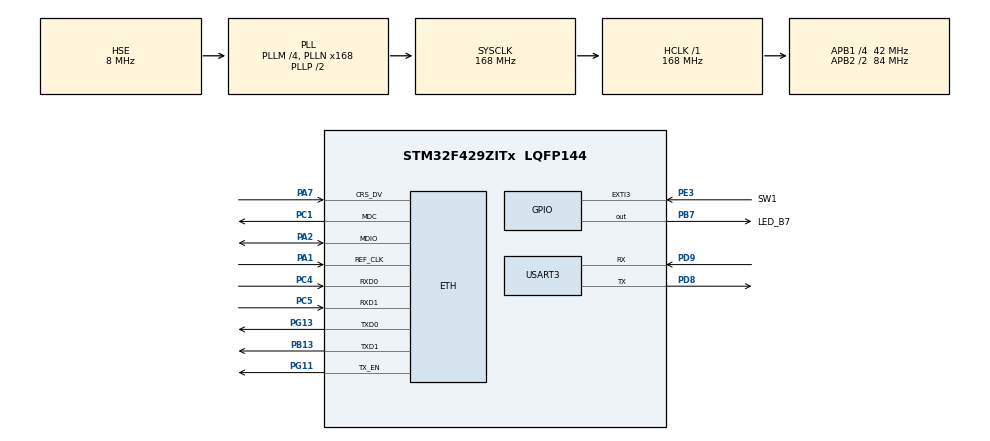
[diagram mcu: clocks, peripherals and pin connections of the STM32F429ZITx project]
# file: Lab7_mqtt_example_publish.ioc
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ETH.MACAddr=00\:80\:E1\:CD\:FF\:AD
ETH.MediaInterface=HAL_ETH_RMII_MODE
FREERTOS.Tasks01=defaultTask,24,128,StartDefaultTask,Default,NULL,Dynamic,NULL,NULL
FREERTOS.configTOTAL_HEAP_SIZE=25360
LWIP.BSP.number=1
LWIP.MEMP_NUM_SYS_TIMEOUT=13
LWIP.MEM_SIZE=10*1024
LWIP.Version=v2.1.2_Cube
LWIP0.BSP.STBoard=false
LWIP0.BSP.api=BSP_COMPONENT_DRIVER
LWIP0.BSP.component=LAN8742
LWIP0.BSP.instance=LAN8742
LWIP0.BSP.name=Driver_PHY
LWIP0.BSP.semaphore=S_LAN8742
LWIP0.BSP.solution=LAN8742
Mcu.Family=STM32F4
Mcu.Name=STM32F429ZITx
Mcu.Package=LQFP144
NVIC.ETH_IRQn=true\:5\:0\:false\:false\:true\:true\:false\:true\:true
NVIC.EXTI3_IRQn=true\:5\:0\:true\:false\:true\:true\:true\:true\:true
NVIC.PriorityGroup=NVIC_PRIORITYGROUP_4
NVIC.TIM1_UP_TIM10_IRQn=true\:15\:0\:false\:false\:true\:false\:false\:true\:true
NVIC.TimeBase=TIM1_UP_TIM10_IRQn
NVIC.TimeBaseIP=TIM1
PA1.Mode=RMII
PA1.Signal=ETH_REF_CLK
PA13.Mode=Serial_Wire
PA13.Signal=SYS_JTMS-SWDIO
PA14.Mode=Serial_Wire
PA14.Signal=SYS_JTCK-SWCLK
PA2.Mode=RMII
PA2.Signal=ETH_MDIO
PA7.Mode=RMII
PA7.Signal=ETH_CRS_DV
PB13.Mode=RMII
PB13.Signal=ETH_TXD1
PB7.GPIO_Label=LED_B7
PB7.Signal=GPIO_Output
PC1.Mode=RMII
PC1.Signal=ETH_MDC
PC14/OSC32_IN.Mode=LSE-External-Oscillator
PC14/OSC32_IN.Signal=RCC_OSC32_IN
PC15/OSC32_OUT.Mode=LSE-External-Oscillator
PC15/OSC32_OUT.Signal=RCC_OSC32_OUT
PC4.Mode=RMII
PC4.Signal=ETH_RXD0
PC5.Mode=RMII
PC5.Signal=ETH_RXD1
PD8.Mode=Asynchronous
PD8.Signal=USART3_TX
PD9.Mode=Asynchronous
PD9.Signal=USART3_RX
PE3.GPIO_Label=SW1
PE3.Signal=GPXTI3
PG11.Mode=RMII
PG11.Signal=ETH_TX_EN
PG13.Mode=RMII
PG13.Signal=ETH_TXD0
PH0/OSC_IN.Mode=HSE-External-Oscillator
PH0/OSC_IN.Signal=RCC_OSC_IN
PH1/OSC_OUT.Mode=HSE-External-Oscillator
PH1/OSC_OUT.Signal=RCC_OSC_OUT
ProjectManager.HeapSize=0x200
ProjectManager.StackSize=0x400
ProjectManager.TargetToolchain=MDK-ARM V5.32
RCC.48MHZClocksFreq_Value=48000000
RCC.AHBFreq_Value=168000000
RCC.APB1CLKDivider=RCC_HCLK_DIV4
RCC.APB1Freq_Value=42000000
RCC.APB1TimFreq_Value=84000000
RCC.APB2CLKDivider=RCC_HCLK_DIV2
RCC.APB2Freq_Value=84000000
RCC.APB2TimCLKDivider=2
RCC.APB2TimFreq_Value=168000000
RCC.CortexFreq_Value=168000000
RCC.HCLKFreq_Value=168000000
RCC.HSE_VALUE=8000000
RCC.HSI_VALUE=16000000
RCC.PLLM=4
RCC.PLLMUL=RCC_PLL_MUL9
RCC.PLLN=168
RCC.PLLQ=7
RCC.PLLSourceVirtual=RCC_PLLSOURCE_HSE
RCC.PRESCALERUSB=RCC_USBCLKSOURCE_PLL_DIV1_5
RCC.SYSCLKFreq_VALUE=168000000
RCC.SYSCLKSource=RCC_SYSCLKSOURCE_PLLCLK
RCC.SYSCLKSourceVirtual=RCC_SYSCLKSOURCE_PLLCLK
RCC.USBFreq_Value=48000000
RCC.VCOOutputFreq_Value=336000000
USART3.VirtualMode=VM_ASYNC
VP_FREERTOS_VS_CMSIS_V2.Mode=CMSIS_V2
VP_LWIP_VS_Enabled.Mode=Enabled
VP_SYS_VS_tim1.Mode=TIM1
board=NUCLEO-F429ZI

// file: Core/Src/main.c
/* USER CODE BEGIN Header */
/**
  ******************************************************************************
  * @file           : main.c
  * @brief          : Main program body
  ******************************************************************************
  * @attention
  *
  * Copyright (c) 2025 STMicroelectronics.
  * All rights reserved.
  *
  * This software is licensed under terms that can be found in the LICENSE file
  * in the root directory of this software component.
  * If no LICENSE file comes with this software, it is provided AS-IS.
  *
  ******************************************************************************
  */
/* USER CODE END Header */
#include "main.h"
#include "cmsis_os.h"
#include "lwip.h"
#include "usart.h"
#include "gpio.h"

/* USER CODE BEGIN Includes */
#include "lwip/apps/mqtt.h"
#include "FreeRTOS.h"
#include "queue.h"
#include "semphr.h"
#include "string.h"
#include "stdbool.h"
#include "task.h"
/* USER CODE END Includes */

/* USER CODE BEGIN PV */
mqtt_client_t *mqttClient = NULL;

QueueHandle_t queueSwitch;

SemaphoreHandle_t xSemMqttReconnect;
TaskHandle_t handleMQTT;
TaskHandle_t handlePublish;
TaskHandle_t handleControl;
/* USER CODE END PV */

void SystemClock_Config(void);
void MX_FREERTOS_Init(void);
/* USER CODE BEGIN PFP */
void mqtt_connection_cb(mqtt_client_t *mqttClient, void *arg, mqtt_connection_status_t status);
void mqtt_pub_request_cb(void *arg, err_t result);
void taskMQTT(void *pvParameters);
void taskPublish(void *pvParameters);
void taskControll(void *pvParameters);

void HAL_GPIO_EXTI_Callback(uint16_t GPIO_Pin);
/* USER CODE END PFP */

/* USER CODE BEGIN 0 */

/*
 * MQTT Callback Functions
 */

// Connection status callback
void mqtt_connection_cb(mqtt_client_t *mqttClient, void *arg, mqtt_connection_status_t status){
  if (status == MQTT_CONNECT_ACCEPTED){
    printf("MQTT connected successfully!\r\n");
    HAL_GPIO_WritePin(LED_B7_GPIO_Port, LED_B7_Pin, GPIO_PIN_SET);
  }else{
    HAL_GPIO_WritePin(LED_B7_GPIO_Port, LED_B7_Pin, GPIO_PIN_RESET);
    printf("MQTT connection failed! Error code: %d\r\n", status);

    xSemaphoreGive(xSemMqttReconnect);
  }
}

// Publish request callback
void mqtt_pub_request_cb(void *arg, err_t result){
  if (result != ERR_OK){
    printf("Publish result: %d\r\n", result);
  }
}

/*
 * Task
 */

// MQTT initial task
void taskMQTT(void *pvParameters){
  MX_LWIP_Init();

  mqttClient = mqtt_client_new();

  struct mqtt_connect_client_info_t mqtt_connect_info = {
    .client_id = "M11317045_A",
    .client_user = "CSIE3041",
    .client_pass = "000000",
    .keep_alive = 20,
    .will_topic = "Lab7/Last_will",
    .will_msg = "Goodbye client_A!",
    .will_qos = 0,
    .will_retain = 0
  };

  ip_addr_t mqttBrokerAddr;
  IP_ADDR4(&mqttBrokerAddr, 140, 125, 33, 185);

  err_t connectResult;
  while(1){
    if (!mqtt_client_is_connected(mqttClient)){
      connectResult = mqtt_client_connect(mqttClient, &mqttBrokerAddr, MQTT_PORT,
                                               mqtt_connection_cb, NULL, &mqtt_connect_info);

      if (connectResult != ERR_OK){
        printf("MQTT connect returned error: %d\r\n", connectResult);
        if (connectResult == ERR_ISCONN) {
          mqtt_disconnect(mqttClient);
        }
      }
    } else{
      xSemaphoreTake(xSemMqttReconnect, portMAX_DELAY);
    }
    vTaskDelay(1000);
  }
}

// Control switch task
void taskControll(void *pvParameters){
  uint8_t switchMode = 9;
  char message[10];
  bool LED_Status = true;

  while(1){
    xQueueReceive(queueSwitch, &switchMode, portMAX_DELAY);

    switch (switchMode){
      case 0:
        if (LED_Status == true){
          strcpy(message, "On");
          LED_Status = false;
        } else{
          strcpy(message, "Off");
          LED_Status = true;
        }

        mqtt_publish(mqttClient, "Lab7/LED", message, strlen(message), 0, 0, NULL, NULL);
        break;
    }
  }
}

// Publish count task
void taskPublish(void *pvParameters){
  int count = 0;
  char message[10];

  while(1){
    if (mqtt_client_is_connected(mqttClient)){
      count++;
      snprintf(message, sizeof(message), "%d", count);

      mqtt_publish(mqttClient, "Lab7/Count", message, strlen(message), 0, 0, NULL, NULL);
    }

    vTaskDelay(1000);
  }
}

void HAL_GPIO_EXTI_Callback(uint16_t GPIO_Pin){
  static uint8_t mode = 0;

  switch (GPIO_Pin){
    case GPIO_PIN_3:
      if (HAL_GPIO_ReadPin(SW1_GPIO_Port, SW1_Pin) == 1){
        mode = 0;
        xQueueSendFromISR(queueSwitch, &mode, NULL);
      }
      break;
  }
}

/* USER CODE END 0 */

int main(void)
{

  /* MCU Configuration--------------------------------------------------------*/

  /* Reset of all peripherals, Initializes the Flash interface and the Systick. */
  HAL_Init();

  /* Configure the system clock */
  SystemClock_Config();

  /* Initialize all configured peripherals */
  MX_GPIO_Init();
  MX_USART3_UART_Init();
  /* USER CODE BEGIN 2 */
  xSemMqttReconnect = xSemaphoreCreateBinary();
  queueSwitch = xQueueCreate(3, sizeof(uint8_t));

  xTaskCreate(taskMQTT, "MQTT init", 1024, NULL, 3, &handleMQTT);
  xTaskCreate(taskControll, "Control switch", 256, NULL, 2, &handleControl);
  xTaskCreate(taskPublish, "Publish", 256, NULL, 1, &handlePublish);

  printf("A_StartScheduler \r\n");
	vTaskStartScheduler();
  /* USER CODE END 2 */

  /* Init scheduler */
  osKernelInitialize();  /* Call init function for freertos objects (in freertos.c) */
  MX_FREERTOS_Init();

  /* Start scheduler */
  osKernelStart();

  /* We should never get here as control is now taken by the scheduler */
  /* Infinite loop */
  while (1)
  {

  }
}

void SystemClock_Config(void)
{
  RCC_OscInitTypeDef RCC_OscInitStruct = {0};
  RCC_ClkInitTypeDef RCC_ClkInitStruct = {0};

  /** Configure the main internal regulator output voltage
  */
  __HAL_RCC_PWR_CLK_ENABLE();
  __HAL_PWR_VOLTAGESCALING_CONFIG(PWR_REGULATOR_VOLTAGE_SCALE1);

  /** Initializes the RCC Oscillators according to the specified parameters
  * in the RCC_OscInitTypeDef structure.
  */
  RCC_OscInitStruct.OscillatorType = RCC_OSCILLATORTYPE_HSE;
  RCC_OscInitStruct.HSEState = RCC_HSE_ON;
  RCC_OscInitStruct.PLL.PLLState = RCC_PLL_ON;
  RCC_OscInitStruct.PLL.PLLSource = RCC_PLLSOURCE_HSE;
  RCC_OscInitStruct.PLL.PLLM = 4;
  RCC_OscInitStruct.PLL.PLLN = 168;
  RCC_OscInitStruct.PLL.PLLP = RCC_PLLP_DIV2;
  RCC_OscInitStruct.PLL.PLLQ = 7;
  if (HAL_RCC_OscConfig(&RCC_OscInitStruct) != HAL_OK)
  {
    Error_Handler();
  }

  /** Initializes the CPU, AHB and APB buses clocks
  */
  RCC_ClkInitStruct.ClockType = RCC_CLOCKTYPE_HCLK|RCC_CLOCKTYPE_SYSCLK
                              |RCC_CLOCKTYPE_PCLK1|RCC_CLOCKTYPE_PCLK2;
  RCC_ClkInitStruct.SYSCLKSource = RCC_SYSCLKSOURCE_PLLCLK;
  RCC_ClkInitStruct.AHBCLKDivider = RCC_SYSCLK_DIV1;
  RCC_ClkInitStruct.APB1CLKDivider = RCC_HCLK_DIV4;
  RCC_ClkInitStruct.APB2CLKDivider = RCC_HCLK_DIV2;

  if (HAL_RCC_ClockConfig(&RCC_ClkInitStruct, FLASH_LATENCY_5) != HAL_OK)
  {
    Error_Handler();
  }
}

void HAL_TIM_PeriodElapsedCallback(TIM_HandleTypeDef *htim)
{
  if (htim->Instance == TIM1) {
    HAL_IncTick();
  }
}

void Error_Handler(void)
{
  __disable_irq();
  while (1)
  {
  }
}
